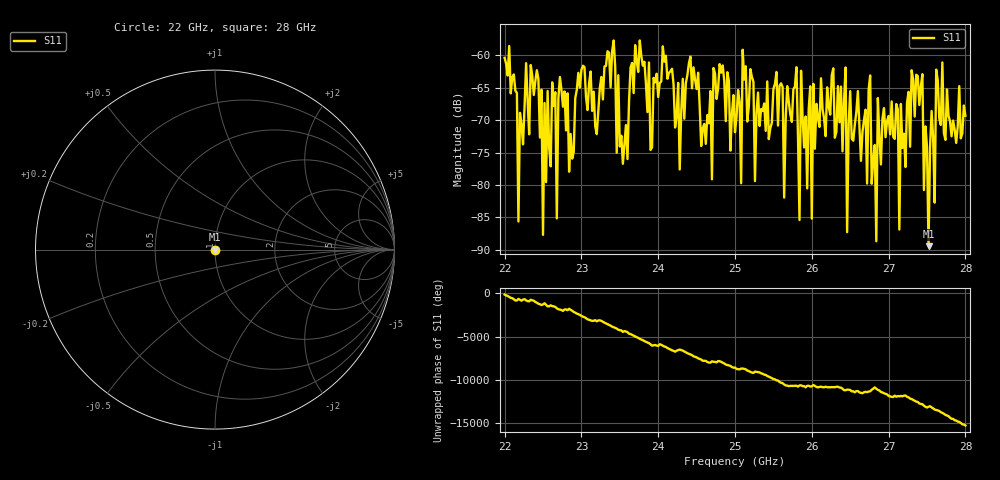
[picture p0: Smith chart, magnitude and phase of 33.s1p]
#  HZ  S  RI  R  50.00
! Rohde & Schwarz ZVA40 4Ports - Version 3.90 - 1145.1110k42 SN: 100403
! Date: 2023-10-04 09:25:57
! Measurement: S12
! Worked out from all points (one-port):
!   301 points, 22 GHz to 28 GHz, reference 50 ohm
!   lowest |S11| = -89.4 dB at 27.52 GHz (marker M1), VSWR 1.00, Z = 50 - j0.00191 ohm
!   |S11| at or under -10 dB: start of sweep to end of sweep
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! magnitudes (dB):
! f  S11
! 22 GHz  -60.4
! 22.18 GHz  -85.6
! 22.28 GHz  -61.2
! 22.5 GHz  -87.7
! 22.76 GHz  -67.9
! 23.42 GHz  -57.7
! 23.5 GHz  -74.1
! 24.26 GHz  -64.3
! 25 GHz  -71.9
! 25.54 GHz  -62.6
! 25.64 GHz  -81.9
! 25.76 GHz  -65.2
! 25.84 GHz  -85.4
! 25.86 GHz  -62.4
! 25.94 GHz  -80.5
! 25.98 GHz  -64.8
! 26 GHz  -85.2
! 26.02 GHz  -64.4
! 26.44 GHz  -61.9
! 26.46 GHz  -87.3
! 26.5 GHz  -65.5
! 26.76 GHz  -63.1
! 26.84 GHz  -88.7
! 27.26 GHz  -65.7
! 27.52 GHz  -89.4
! 27.6 GHz  -82.7
! 27.62 GHz  -62.2
! 28 GHz  -69.3
